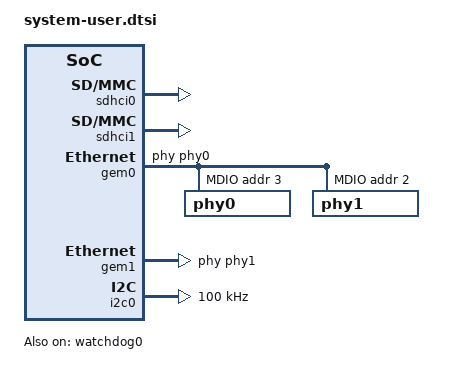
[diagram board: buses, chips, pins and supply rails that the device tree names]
/include/ "system-conf.dtsi"
/ {
chosen {
bootargs = "console=ttyPS0,115200 earlyprintk uio_pdrv_genirq.of_id=generic-uio root=/dev/mmcblk1p2 rw rootwait";
};
	
};

&C2C_axisafety_1 {
status = "disabled";
};

&C2C_axisafety_2 {
status = "disabled";
};

&sdhci0 {
status = "okay";
/*max-frequency = <50000000>;*/
disable-wp;
/delete-property/ no-1-8-v;
broken-cd;
};

&sdhci1 {
status = "okay";
/*max-frequency = <50000000>;*/
disable-wp;
/delete-property/ no-1-8-v;
broken-cd;
};

&dbg_debug_bridge_0 {
compatible = "generic-uio";
};

&JTAG_axi_jtag_0 {
compatible = "xlnx,xvc";
};

&JTAG_axi_jtag_1 {
compatible = "xlnx,xvc";
};

&gem0 {
phy-handle = <&phy0>;
local-mac-address = [00 0a 35 00 00 02];
mdio {
/*#address-cells = <1>;
#size-cells = <0>;*/
phy0: phy0@3 {
	      reg = <0x3>;
             };
phy1: phy1@2 {
	      reg = <0x2>;
      	     };
};
};

&gem1 {
phy-handle = <&phy1>;
local-mac-address = [00 0a 35 00 00 03];
/*mdio {
#address-cells = <1>;
#size-cells = <0>;*/
/*phy0: phy0@2 {
	      reg = <0x2>;
             };*/
/*phy1: phy1@3 {
	      reg = <0x3>;
             };
};*/
};

&watchdog0 {
status = "okay";
reset-on-timeout;
timeout-sec = <10>;
};

&i2c0 {
	clock-frequency = <100000>;
	/*clock-frequency = <90000>;*/
	/*clock-frequency = <80000>;*/
	status = "okay";
};

&hier_0_axi_mcdma_0 {
		compatible = "xlnx,eth-dma";
		xlnx,addrwidth = [20];
	};

&xxv_ethernet_0 {
	axistream-connected = <&hier_0_axi_mcdma_0>;
	axistream-control-connected = <&hier_0_axi_mcdma_0>;
	clock-names = "rx_core_clk_0", "dclk", "s_axi_aclk_0", "s_axi_lite_aclk", "m_axi_sg_aclk", "m_axi_mm2s_aclk", "m_axi_s2mm_aclk";
	clocks = <&misc_clk_1>, <&zynqmp_clk 71>, <&zynqmp_clk 73>, <&misc_clk_0>, <&misc_clk_0>, <&misc_clk_0>, <&misc_clk_0>;
	interrupt-names = "mm2s_ch1_introut", "mm2s_ch2_introut", "mm2s_ch3_introut", "mm2s_ch4_introut", "mm2s_ch5_introut", "mm2s_ch6_introut", "mm2s_ch7_introut", "mm2s_ch8_introut", "mm2s_ch9_introut", "mm2s_ch10_introut", "mm2s_ch11_introut", "mm2s_ch12_introut", "mm2s_ch13_introut", "mm2s_ch14_introut", "mm2s_ch15_introut", "mm2s_ch16_introut", "s2mm_ch1_introut", "s2mm_ch2_introut", "s2mm_ch3_introut", "s2mm_ch4_introut", "s2mm_ch5_introut", "s2mm_ch6_introut", "s2mm_ch7_introut", "s2mm_ch8_introut", "s2mm_ch9_introut", "s2mm_ch10_introut", "s2mm_ch11_introut", "s2mm_ch12_introut", "s2mm_ch13_introut", "s2mm_ch14_introut", "s2mm_ch15_introut", "s2mm_ch16_introut";
	interrupt-parent = <&gic>;
	interrupts = <0 104 4 0 104 4 0 104 4 0 104 4 0 104 4 0 104 4 0 104 4 0 104 4 0 104 4 0 104 4 0 104 4 0 104 4 0 104 4 0 104 4 0 104 4 0 104 4 0 105 4 0 105 4 0 105 4 0 105 4 0 106 4 0 106 4 0 106 4 0 106 4 0 107 4 0 107 4 0 107 4 0 107 4 0 108 4 0 108 4 0 108 4 0 108 4>;
	xlnx,channel-ids = "1","2","3","4","5","6","7","8","9","a","b","c","d","e","f","10";
	xlnx,include-dre;
	xlnx,num-queues = [00 10];
	xlnx,rxmem = <0x40000>;
	xlnx,txcsum = <0x1>;
	xlnx,rxcsum = <0x2>;
};

&amba_pl {
	dma_proxy {
		compatible ="xlnx,dma_proxy";
		dmas = <&axi_dma_0 0 &axi_dma_0 1>;
		dma-names = "dma_proxy_tx", "dma_proxy_rx";
		/*dma-coherent;*/
	};
};
